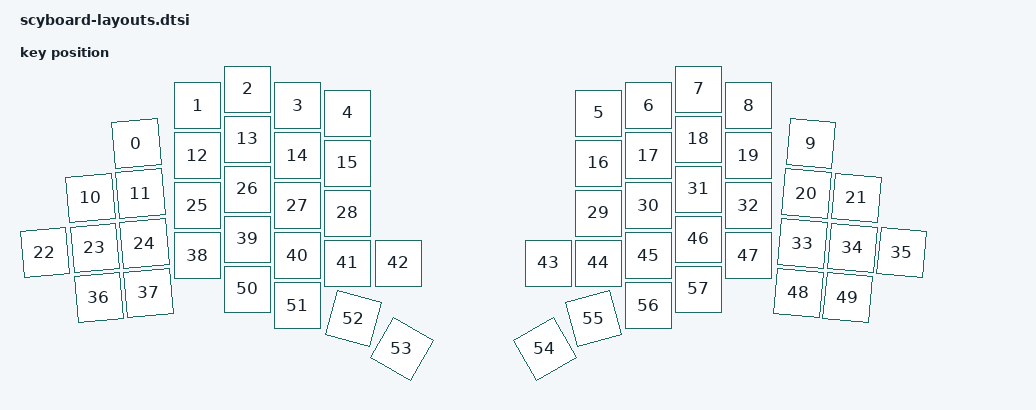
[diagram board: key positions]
#include <physical_layouts.dtsi>

/ {
    physical_layout0: physical_layout_0 {
        compatible = "zmk,physical-layout";
        display-name = "scyboard";

        kscan = <&kscan0>;
        transform = <&default_transform>;

        keys  //                     w   h    x    y     rot    rx    ry
            = <&key_physical_attrs 100 100  183  109  (-500)   233   159>
            , <&key_physical_attrs 100 100  306   33       0     0     0>
            , <&key_physical_attrs 100 100  406    0       0     0     0>
            , <&key_physical_attrs 100 100  506   33       0     0     0>
            , <&key_physical_attrs 100 100  606   48       0     0     0>
            , <&key_physical_attrs 100 100 1108   48       0     0     0>
            , <&key_physical_attrs 100 100 1208   33       0     0     0>
            , <&key_physical_attrs 100 100 1308    0       0     0     0>
            , <&key_physical_attrs 100 100 1408   33       0     0     0>
            , <&key_physical_attrs 100 100 1532  109     500  1582   159>
            , <&key_physical_attrs 100 100   91  218  (-500)   141   268>
            , <&key_physical_attrs 100 100  191  209  (-500)   241   259>
            , <&key_physical_attrs 100 100  306  133       0     0     0>
            , <&key_physical_attrs 100 100  406  100       0     0     0>
            , <&key_physical_attrs 100 100  506  133       0     0     0>
            , <&key_physical_attrs 100 100  606  148       0     0     0>
            , <&key_physical_attrs 100 100 1108  148       0     0     0>
            , <&key_physical_attrs 100 100 1208  133       0     0     0>
            , <&key_physical_attrs 100 100 1308  100       0     0     0>
            , <&key_physical_attrs 100 100 1408  133       0     0     0>
            , <&key_physical_attrs 100 100 1523  209     500  1573   259>
            , <&key_physical_attrs 100 100 1623  218     500  1673   268>
            , <&key_physical_attrs 100 100    0  327  (-500)    50   377>
            , <&key_physical_attrs 100 100  100  318  (-500)   150   368>
            , <&key_physical_attrs 100 100  199  309  (-500)   249   359>
            , <&key_physical_attrs 100 100  306  233       0     0     0>
            , <&key_physical_attrs 100 100  406  200       0     0     0>
            , <&key_physical_attrs 100 100  506  233       0     0     0>
            , <&key_physical_attrs 100 100  606  248       0     0     0>
            , <&key_physical_attrs 100 100 1108  248       0     0     0>
            , <&key_physical_attrs 100 100 1208  233       0     0     0>
            , <&key_physical_attrs 100 100 1308  200       0     0     0>
            , <&key_physical_attrs 100 100 1408  233       0     0     0>
            , <&key_physical_attrs 100 100 1515  309     500  1565   359>
            , <&key_physical_attrs 100 100 1615  318     500  1665   368>
            , <&key_physical_attrs 100 100 1714  327     500  1764   377>
            , <&key_physical_attrs 100 100  108  417  (-500)   158   467>
            , <&key_physical_attrs 100 100  207  408  (-500)   257   458>
            , <&key_physical_attrs 100 100  306  333       0     0     0>
            , <&key_physical_attrs 100 100  406  300       0     0     0>
            , <&key_physical_attrs 100 100  506  333       0     0     0>
            , <&key_physical_attrs 100 100  606  348       0     0     0>
            , <&key_physical_attrs 100 100  707  348       0     0     0>
            , <&key_physical_attrs 100 100 1007  348       0     0     0>
            , <&key_physical_attrs 100 100 1108  348       0     0     0>
            , <&key_physical_attrs 100 100 1208  333       0     0     0>
            , <&key_physical_attrs 100 100 1308  300       0     0     0>
            , <&key_physical_attrs 100 100 1408  333       0     0     0>
            , <&key_physical_attrs 100 100 1507  408     500  1557   458>
            , <&key_physical_attrs 100 100 1606  417     500  1656   467>
            , <&key_physical_attrs 100 100  406  400       0     0     0>
            , <&key_physical_attrs 100 100  506  433       0     0     0>
            , <&key_physical_attrs 100 100  617  459    1500   667   509>
            , <&key_physical_attrs 100 100  714  520    3000   764   570>
            , <&key_physical_attrs 100 100 1000  520 (-3000)  1050   570>
            , <&key_physical_attrs 100 100 1097  459 (-1500)  1147   509>
            , <&key_physical_attrs 100 100 1208  433       0     0     0>
            , <&key_physical_attrs 100 100 1308  400       0     0     0>
            ;
    };
};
